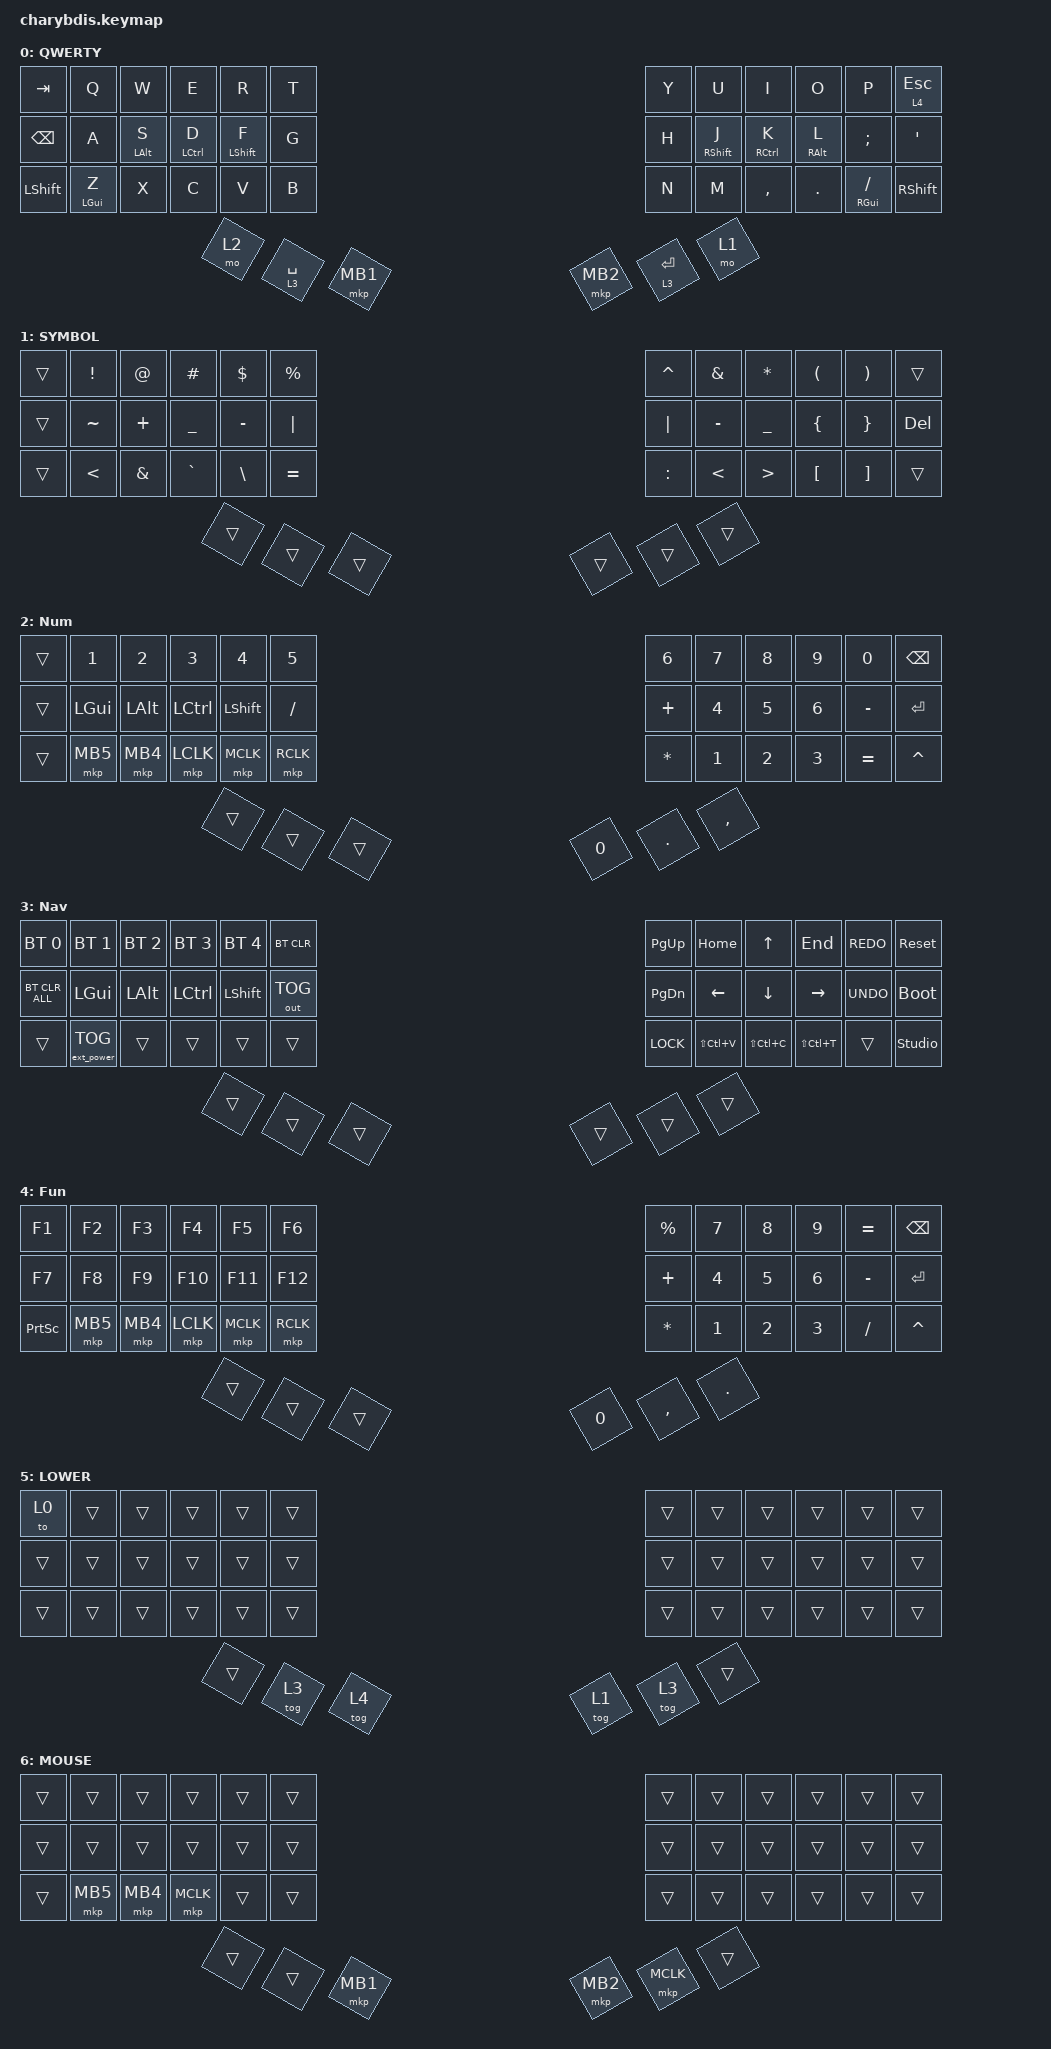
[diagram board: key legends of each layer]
#include <behaviors.dtsi>
#include <dt-bindings/zmk/bt.h>
#include <dt-bindings/zmk/ext_power.h>
#include <dt-bindings/zmk/keys.h>
#include <dt-bindings/zmk/outputs.h>
#include <dt-bindings/zmk/pointing.h>
#include <dt-bindings/zmk/rgb.h>

/ {
    behaviors {
        td0: td0 {
            compatible = "zmk,behavior-tap-dance";
            display-name = "Shift/Caps Lock Tap Dance";
            #binding-cells = <0>;
            bindings = <&kp LEFT_SHIFT>, <&kp CAPS>;
        };

        hrm_left: hrm_left {
            compatible = "zmk,behavior-hold-tap";
            label = "HRM_LEFT";
            bindings = <&kp>, <&kp>;

            #binding-cells = <2>;
            flavor = "balanced";
            tapping-term-ms = <280>;
            quick-tap-ms = <175>;
            require-prior-idle-ms = <150>;
            hold-trigger-on-release;
            hold-trigger-key-positions = <6 7 8 9 10 11 18 19 20 21 22 23 30 31 32 33 34 35 36 37 38 39 40 41>;
        };

        hrm_right: hrm_right {
            compatible = "zmk,behavior-hold-tap";
            label = "HRM_RIGHT";
            bindings = <&kp>, <&kp>;

            #binding-cells = <2>;
            flavor = "balanced";
            tapping-term-ms = <280>;
            quick-tap-ms = <175>;
            require-prior-idle-ms = <150>;
            hold-trigger-on-release;
            hold-trigger-key-positions = <0 1 2 3 4 5 12 13 14 15 16 17 24 25 26 27 28 29 36 37 38 39 40 41>;
        };

        layer_tap: layer_tap {
            compatible = "zmk,behavior-hold-tap";
            label = "LAYER_TAP";
            bindings = <&mo>, <&kp>;

            #binding-cells = <2>;
            quick-tap-ms = <175>;
            flavor = "tap-preferred";
            tapping-term-ms = <280>;
        };
    };

    combos {
        compatible = "zmk,combos";

        combo_lbrc {
            timeout-ms = <50>;
            key-positions = <4 5>;   // R + T
            bindings = <&kp LBRC>;
            layers = <0 1 2 3 4>;
        };

        combo_rbrc {
            timeout-ms = <50>;
            key-positions = <6 7>;   // Y + U
            bindings = <&kp RBRC>;
            layers = <0 1 2 3 4>;
        };

        combo_lpar {
            timeout-ms = <50>;
            key-positions = <16 17>; // F + G
            bindings = <&kp LPAR>;
            layers = <0 1 2 3 4>;
        };

        combo_rpar {
            timeout-ms = <50>;
            key-positions = <18 19>; // H + J
            bindings = <&kp RPAR>;
            layers = <0 1 2 3 4>;
        };

        combo_lbkt {
            timeout-ms = <50>;
            key-positions = <28 29>; // V + B
            bindings = <&kp LBKT>;  // 可以用CMD+这个单手返回到代码上一个编辑的地方 或者网页返回
            layers = <0 1 2 3 4>;
        };

        combo_rbkt {
            timeout-ms = <50>;
            key-positions = <30 31>; // N + M
            bindings = <&kp RBKT>;
            layers = <0 1 2 3 4>;
        };

        esc {
            timeout-ms = <50>;
            key-positions = <0 1>;   // TAB + Q
            bindings = <&kp ESC>; // ESC
            layers = <0>;
        };
    };

    keymap {
        compatible = "zmk,keymap";

        qwerty {
            display-name = "QWERTY";
            bindings = <
&kp TAB         &kp Q                 &kp W             &kp E              &kp R               &kp T     &kp Y     &kp U               &kp I               &kp O              &kp P                       &layer_tap 4 ESC
&kp BACKSPACE   &kp A                 &hrm_left LALT S  &hrm_left LCTRL D  &hrm_left LSHFT F   &kp G     &kp H     &hrm_right RSHFT J  &hrm_right RCTRL K  &hrm_right RALT L  &kp SEMICOLON               &kp SQT
&kp LEFT_SHIFT  &hrm_left LEFT_GUI Z  &kp X             &kp C              &kp V               &kp B     &kp N     &kp M               &kp COMMA           &kp DOT            &hrm_right RIGHT_GUI SLASH  &kp RIGHT_SHIFT
                                                        &mo 2              &layer_tap 3 SPACE  &mkp MB1  &mkp MB2  &layer_tap 3 ENTER  &mo 1
            >;
        };

        symbol {
            bindings = <
&trans  &kp EXCLAMATION  &kp AT_SIGN    &kp HASH        &kp DOLLAR     &kp PERCENT  &kp CARET  &kp AMPERSAND  &kp ASTERISK      &kp LEFT_PARENTHESIS  &kp RIGHT_PARENTHESIS  &trans
&trans  &kp TILDE        &kp PLUS       &kp UNDERSCORE  &kp MINUS      &kp PIPE     &kp PIPE   &kp MINUS      &kp UNDERSCORE    &kp LEFT_BRACE        &kp RIGHT_BRACE        &kp DELETE
&trans  &kp LESS_THAN    &kp AMPERSAND  &kp GRAVE       &kp BACKSLASH  &kp EQUAL    &kp COLON  &kp LESS_THAN  &kp GREATER_THAN  &kp LEFT_BRACKET      &kp RIGHT_BRACKET      &trans
                                        &trans          &trans         &trans       &trans     &trans         &trans
            >;

            label = "SYMBOL";
        };

        Num {
            label = "Num";
            bindings = <
&trans  &kp N1        &kp N2        &kp N3            &kp N4          &kp N5     &kp N6        &kp N7      &kp N8     &kp N9  &kp N0     &kp BACKSPACE
&trans  &kp LEFT_GUI  &kp LEFT_ALT  &kp LEFT_CONTROL  &kp LEFT_SHIFT  &kp SLASH  &kp PLUS      &kp N4      &kp N5     &kp N6  &kp MINUS  &kp ENTER
&trans  &mkp MB5      &mkp MB4      &mkp LCLK         &mkp MCLK       &mkp RCLK  &kp ASTERISK  &kp N1      &kp N2     &kp N3  &kp EQUAL  &kp CARET
                                    &trans            &trans          &trans     &kp N0        &kp PERIOD  &kp COMMA
            >;
        };

        Nav {
            display-name = "Nav";

            /* Absorbed the old SYSTEM layer, which was an exact copy of this one
             * apart from carrying &bt BT_SEL 0-3 where this had home-row mods.
             * Those profile selects now sit on the top row, in the slots the
             * &rgb_ug bindings used to occupy - this board has no underglow
             * (no CONFIG_ZMK_RGB_UNDERGLOW, no LED strip in devicetree), so
             * every one of those keys was dead. */
            bindings = <
&bt BT_SEL 0    &bt BT_SEL 1       &bt BT_SEL 2  &bt BT_SEL 3      &bt BT_SEL 4    &bt BT_CLR    &kp PAGE_UP    &kp HOME        &kp UP_ARROW    &kp END        &kp K_REDO  &sys_reset
&bt BT_CLR_ALL  &kp LEFT_GUI       &kp LEFT_ALT  &kp LEFT_CONTROL  &kp LEFT_SHIFT  &out OUT_TOG  &kp PAGE_DOWN  &kp LEFT_ARROW  &kp DOWN_ARROW  &kp RIGHT      &kp K_UNDO  &bootloader
&trans          &ext_power EP_TOG  &trans        &trans            &trans          &trans        &kp K_LOCK     &kp LS(LC(V))   &kp LS(LC(C))   &kp LS(LC(T))  &trans      &studio_unlock
                                                 &trans            &trans          &trans        &trans         &trans          &trans
            >;
        };

        Fun {
            bindings = <
&kp F1           &kp F2    &kp F3    &kp F4     &kp F5     &kp F6     &kp PERCENT   &kp N7     &kp N8   &kp N9  &kp EQUAL  &kp BACKSPACE
&kp F7           &kp F8    &kp F9    &kp F10    &kp F11    &kp F12    &kp PLUS      &kp N4     &kp N5   &kp N6  &kp MINUS  &kp ENTER
&kp PRINTSCREEN  &mkp MB5  &mkp MB4  &mkp LCLK  &mkp MCLK  &mkp RCLK  &kp ASTERISK  &kp N1     &kp N2   &kp N3  &kp FSLH   &kp CARET
                                     &trans     &trans     &trans     &kp N0        &kp COMMA  &kp DOT
            >;

            label = "Fun";
        };

        lower {
            bindings = <
&to 0   &trans  &trans  &trans  &trans  &trans  &trans  &trans  &trans  &trans  &trans  &trans
&trans  &trans  &trans  &trans  &trans  &trans  &trans  &trans  &trans  &trans  &trans  &trans
&trans  &trans  &trans  &trans  &trans  &trans  &trans  &trans  &trans  &trans  &trans  &trans
                        &trans  &tog 3  &tog 4  &tog 1  &tog 3  &trans
            >;

            label = "LOWER";
        };

        Mouse {
            display-name = "MOUSE";

            /* Auto-mouse target. Enabled by trackball movement via
             * &zip_temp_layer in config/charybdis_right.overlay.
             * Thumb click positions (38/39) deliberately match the QWERTY base
             * layer so clicking feels identical whether the layer is up or not. */
            bindings = <
&trans  &trans    &trans    &trans     &trans     &trans     &trans    &trans    &trans    &trans  &trans  &trans
&trans  &trans    &trans    &trans     &trans     &trans     &trans    &trans    &trans    &trans  &trans  &trans
&trans  &mkp MB5  &mkp MB4  &mkp MCLK  &trans     &trans     &trans    &trans    &trans    &trans  &trans  &trans
                            &trans     &trans     &mkp MB1   &mkp MB2  &mkp MCLK &trans
            >;
        };
    };
};
